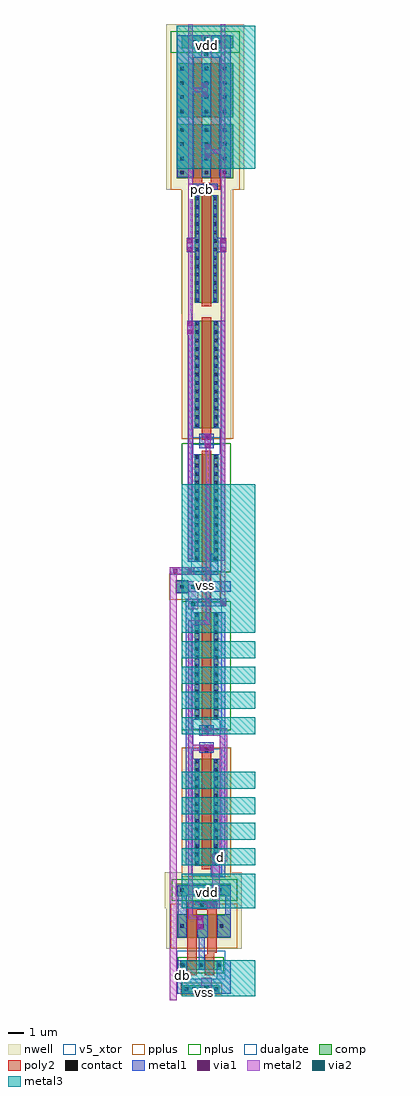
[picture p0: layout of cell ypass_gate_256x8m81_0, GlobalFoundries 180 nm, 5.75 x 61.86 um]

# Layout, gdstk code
from math import pi, radians
import gdstk
lib = gdstk.Library(unit=1e-6, precision=1e-09)
def R(c, l, rs):  # rectangles x0, y0, x1, y1
    for r in rs: c.add(gdstk.rectangle(r[:2], r[2:], *l))
def A(c, l, x, y, w, h, nx, ny, dx, dy):  # array of equal rectangles
    R(c, l, [(x+i*dx, y+j*dy, x+i*dx+w, y+j*dy+h) for i in range(nx) for j in range(ny)])
def P(c, l, *ps):  # polygons
    for p in ps: c.add(gdstk.Polygon(p, *l))
nwell = (21, 0)
comp = (22, 0)
poly2 = (30, 0)
pplus = (31, 0)
nplus = (32, 0)
contact = (33, 0)
metal1 = (34, 0)
via1 = (35, 0)
metal2 = (36, 0)
via2 = (38, 0)
metal3 = (42, 0)
dualgate = (55, 0)
v5_xtor = (112, 1)

m2_m14310590878116_256x8 = lib.new_cell('M2_M14310590878116_256x8m81')
R(m2_m14310590878116_256x8, metal1, [(-0.19,-0.19,0.19,0.19)])
R(m2_m14310590878116_256x8, via1, [(-0.13,-0.13,0.13,0.13)])
R(m2_m14310590878116_256x8, metal2, [(-0.19,-0.19,0.19,0.19)])

m2_m14310590878119_256x8 = lib.new_cell('M2_M14310590878119_256x8m81')
R(m2_m14310590878119_256x8, metal1, [(-0.19,-0.45,0.19,0.45)])
R(m2_m14310590878119_256x8, via1, [(-0.13,-0.39,0.13,-0.13), (-0.13,0.13,0.13,0.39)])
R(m2_m14310590878119_256x8, metal2, [(-0.19,-0.45,0.19,0.45)])

m1_poly24310590878127_25 = lib.new_cell('M1_POLY24310590878127_256x8m81')
R(m1_poly24310590878127_25, poly2, [(-0.21,-0.21,0.21,0.21)])
R(m1_poly24310590878127_25, contact, [(-0.11,-0.11,0.11,0.11)])
R(m1_poly24310590878127_25, metal1, [(-0.17,-0.17,0.17,0.17)])

pmos_5p0431059087810_256 = lib.new_cell('pmos_5p0431059087810_256x8m81')
R(pmos_5p0431059087810_256, nwell, [(-1.04,-0.6,1.64,7.41)])
R(pmos_5p0431059087810_256, comp, [(-0.44,0,1.04,6.81), (-0.44,0,-0.08,6.81), (0.68,0,1.04,6.81)])
R(pmos_5p0431059087810_256, poly2, [(0,-0.22,0.6,7.03), (0,6.81,0.6,7.03)])
R(pmos_5p0431059087810_256, pplus, [(-0.6,-0.23,1.2,7.04)])
A(pmos_5p0431059087810_256, contact, -0.37, 0.07, 0.22, 0.22, 1, 7, 0, 0.54)
A(pmos_5p0431059087810_256, contact, 0.75, 0.07, 0.22, 0.22, 1, 7, 0, 0.54)
A(pmos_5p0431059087810_256, contact, -0.37, 3.845, 0.22, 0.22, 1, 6, 0, 0.535)
A(pmos_5p0431059087810_256, contact, 0.75, 3.845, 0.22, 0.22, 1, 6, 0, 0.535)
R(pmos_5p0431059087810_256, metal1, [(-0.375,0,-0.145,6.81), (-0.375,0,-0.145,6.81), (0.745,0,0.975,6.81), (0.745,0,0.975,6.81)])
R(pmos_5p0431059087810_256, dualgate, [(-0.68,-0.62,1.28,7.43)])
R(pmos_5p0431059087810_256, v5_xtor, [(-0.68,-0.62,1.28,7.43)])
pmos_5p0431059087810_256.add(gdstk.Label('S', (-0.26,3.405), layer=34, texttype=0))
pmos_5p0431059087810_256.add(gdstk.Label('D', (0.86,3.405), layer=34, texttype=0))

nmos_5p0431059087811_256 = lib.new_cell('nmos_5p0431059087811_256x8m81')
A(nmos_5p0431059087811_256, comp, -0.44, 0, 0.36, 0.57, 3, 1, 1.12, 0)
R(nmos_5p0431059087811_256, comp, [(-0.44,0,2.16,0.57)])
R(nmos_5p0431059087811_256, poly2, [(0,-0.22,0.6,0.79), (1.12,-0.22,1.72,0.79), (0,0.57,0.6,0.79), (1.12,0.57,1.72,0.79)])
R(nmos_5p0431059087811_256, nplus, [(-0.6,-0.23,2.32,0.8)])
A(nmos_5p0431059087811_256, contact, -0.37, 0.175, 0.22, 0.22, 3, 1, 1.12, 0)
R(nmos_5p0431059087811_256, metal1, [(-0.375,0,-0.145,0.57), (-0.375,0,-0.145,0.57), (0.745,0,0.975,0.57), (0.745,0,0.975,0.57), (1.865,0,2.095,0.57), (1.865,0,2.095,0.57)])
R(nmos_5p0431059087811_256, dualgate, [(-0.68,-0.62,2.4,1.19)])
R(nmos_5p0431059087811_256, v5_xtor, [(-0.68,-0.62,2.4,1.19)])
nmos_5p0431059087811_256.add(gdstk.Label('S', (-0.26,0.285), layer=34, texttype=0))
nmos_5p0431059087811_256.add(gdstk.Label('S', (1.98,0.285), layer=34, texttype=0))
nmos_5p0431059087811_256.add(gdstk.Label('D', (0.86,0.285), layer=34, texttype=0))

nmos_5p0431059087812_256 = lib.new_cell('nmos_5p0431059087812_256x8m81')
R(nmos_5p0431059087812_256, comp, [(-0.44,0,1.04,6.81), (-0.44,0,-0.08,6.81), (0.68,0,1.04,6.81)])
R(nmos_5p0431059087812_256, poly2, [(0,-0.22,0.6,7.03), (0,6.81,0.6,7.03)])
R(nmos_5p0431059087812_256, nplus, [(-0.6,-0.23,1.2,7.04)])
A(nmos_5p0431059087812_256, contact, -0.37, 0.07, 0.22, 0.22, 1, 7, 0, 0.54)
A(nmos_5p0431059087812_256, contact, 0.75, 0.07, 0.22, 0.22, 1, 7, 0, 0.54)
A(nmos_5p0431059087812_256, contact, -0.37, 3.845, 0.22, 0.22, 1, 6, 0, 0.535)
A(nmos_5p0431059087812_256, contact, 0.75, 3.845, 0.22, 0.22, 1, 6, 0, 0.535)
R(nmos_5p0431059087812_256, metal1, [(-0.375,0,-0.145,6.81), (-0.375,0,-0.145,6.81), (0.745,0,0.975,6.81), (0.745,0,0.975,6.81)])
R(nmos_5p0431059087812_256, dualgate, [(-0.68,-0.62,1.28,7.43)])
R(nmos_5p0431059087812_256, v5_xtor, [(-0.68,-0.62,1.28,7.43)])
nmos_5p0431059087812_256.add(gdstk.Label('S', (-0.26,3.405), layer=34, texttype=0))
nmos_5p0431059087812_256.add(gdstk.Label('D', (0.86,3.405), layer=34, texttype=0))

m1_poly24310590878129_25 = lib.new_cell('M1_POLY24310590878129_256x8m81')
R(m1_poly24310590878129_25, poly2, [(-0.445,-0.21,0.445,0.21)])
R(m1_poly24310590878129_25, contact, [(-0.345,-0.11,-0.125,0.11), (0.125,-0.11,0.345,0.11)])
R(m1_poly24310590878129_25, metal1, [(-0.405,-0.17,0.405,0.17)])

via1_x2_r90_256x8m81_0 = lib.new_cell('via1_x2_R90_256x8m81_0')
R(via1_x2_r90_256x8m81_0, metal1, [(0,0,0.46,1.54)])
R(via1_x2_r90_256x8m81_0, via1, [(0.1,0.2,0.36,0.46), (0.1,1.13,0.36,1.39)])
R(via1_x2_r90_256x8m81_0, metal2, [(0,0,0.46,1.54)])

m1_nwell__46277676_256x8 = lib.new_cell('M1_NWELL$$46277676_256x8m81_0')
R(m1_nwell__46277676_256x8, nwell, [(-1.895,-1.14,1.895,1.14)])
R(m1_nwell__46277676_256x8, comp, [(-1.18,-0.4,1.18,0.4)])
R(m1_nwell__46277676_256x8, nplus, [(-1.445,-0.675,1.445,0.675)])
A(m1_nwell__46277676_256x8, contact, -0.9, -0.11, 0.22, 0.22, 3, 1, 0.79, 0)
R(m1_nwell__46277676_256x8, metal1, [(-1.08,-0.3,1.08,0.3)])

m1_pactive4310590878140_ = lib.new_cell('M1_PACTIVE4310590878140_256x8m81')
R(m1_pactive4310590878140_, comp, [(-1.15,-0.21,1.15,0.21)])
R(m1_pactive4310590878140_, pplus, [(-1.31,-0.37,1.31,0.37)])
A(m1_pactive4310590878140_, contact, -1.05, -0.11, 0.22, 0.22, 5, 1, 0.47, 0)
R(m1_pactive4310590878140_, metal1, [(-1.11,-0.17,1.11,0.17)])

m3_m2__43368492_256x8m81 = lib.new_cell('M3_M2$$43368492_256x8m81')
R(m3_m2__43368492_256x8m81, metal2, [(-0.32,-0.875,0.32,0.88)])
R(m3_m2__43368492_256x8m81, via2, [(-0.13,-0.675,0.13,-0.415), (-0.13,0.415,0.13,0.675)])
R(m3_m2__43368492_256x8m81, metal3, [(-0.325,-0.88,0.325,0.88)])

via1_r90_256x8m81_0 = lib.new_cell('via1_R90_256x8m81_0')
R(via1_r90_256x8m81_0, metal1, [(0,0,0.465,0.64)])
R(via1_r90_256x8m81_0, via1, [(0.1,0.2,0.36,0.46)])
R(via1_r90_256x8m81_0, metal2, [(0,0,0.465,0.635)])

via2_r90_256x8m81_0 = lib.new_cell('via2_R90_256x8m81_0')
P(via2_r90_256x8m81_0, metal2, [(0,-0.005),(0,0.27),(-0.005,0.27),(-0.005,0.33),(0,0.33),(0,0.635),(0.465,0.635),(0.465,-0.005)])
R(via2_r90_256x8m81_0, via2, [(0.1,0.2,0.36,0.46)])
R(via2_r90_256x8m81_0, metal3, [(0,-0.005,0.465,0.64)])

m1_nwell__47121452_256x8 = lib.new_cell('M1_NWELL$$47121452_256x8m81_0')
R(m1_nwell__47121452_256x8, nwell, [(-2.29,-1.14,2.29,1.14)])
R(m1_nwell__47121452_256x8, comp, [(-1.575,-0.4,1.575,0.4)])
R(m1_nwell__47121452_256x8, nplus, [(-1.84,-0.675,1.84,0.675)])
A(m1_nwell__47121452_256x8, contact, -1.295, -0.11, 0.22, 0.22, 4, 1, 0.79, 0)
R(m1_nwell__47121452_256x8, metal1, [(-1.475,-0.3,1.475,0.3)])

m2_m1__46894124_256x8m81 = lib.new_cell('M2_M1$$46894124_256x8m81_0')
R(m2_m1__46894124_256x8m81, metal1, [(-0.32,-0.335,0.325,0.335)])
R(m2_m1__46894124_256x8m81, via1, [(-0.13,-0.13,0.13,0.13)])
R(m2_m1__46894124_256x8m81, metal2, [(-0.32,-0.335,0.325,0.335)])

via1_r270_256x8m81_0 = lib.new_cell('via1_R270_256x8m81_0')
R(via1_r270_256x8m81_0, metal1, [(-0.005,0,0.48,0.64)])
R(via1_r270_256x8m81_0, via1, [(0.11,0.19,0.37,0.45)])
R(via1_r270_256x8m81_0, metal2, [(-0.005,-0.005,0.48,0.635)])

m1_psub__45111340_256x8m = lib.new_cell('M1_PSUB$$45111340_256x8m81_0')
R(m1_psub__45111340_256x8m, comp, [(-0.4,-0.415,0.4,0.415)])
R(m1_psub__45111340_256x8m, pplus, [(-0.795,-0.82,0.795,0.82)])
R(m1_psub__45111340_256x8m, contact, [(-0.11,-0.11,0.11,0.11)])
R(m1_psub__45111340_256x8m, metal1, [(-0.355,-0.37,0.355,0.37)])

via1_2_256x8m81_0 = lib.new_cell('via1_2_256x8m81_0')
via1_2_256x8m81_0.add(gdstk.Reference(via1_r90_256x8m81_0, (0,0)))
via1_2_256x8m81_0.add(gdstk.Reference(via2_r90_256x8m81_0, (0,0)))

ypass_gate_256x8m81_0 = lib.new_cell('ypass_gate_256x8m81_0')
R(ypass_gate_256x8m81_0, nwell, [(-0.025,7.79,3.12,16.01), (-0.025,35.54,3.12,43.76), (-0.035,43.475,3.11,51.695), (-1.015,51.33,3.935,61.85)])
P(ypass_gate_256x8m81_0, nwell, [(-1.015,3.24),(-1.015,6.125),(-0.025,6.125),(-0.025,8.1),(3.78,8.1),(3.78,3.24)])
R(ypass_gate_256x8m81_0, comp, [(-0.335,3.94,3.1,5.425), (2.75,6.56,3.1,7.36), (-0.335,52.08,3.25,55.49), (-0.335,55.955,3.25,59.365), (-0.005,60.31,3.25,61.11)])
R(ypass_gate_256x8m81_0, poly2, [(0.33,1.55,0.93,1.91), (1.45,1.55,2.05,1.91), (0.33,2.485,0.92,2.49), (1.25,15.305,1.85,16.055), (1.25,17.02,1.85,17.77), (1.25,24.435,1.85,27.79), (1.25,35.51,1.85,36.245), (1.24,50.99,1.84,51.355)])
P(ypass_gate_256x8m81_0, poly2, [(0.33,2.695),(0.33,3.06),(0.335,3.06),(0.335,6.22),(2.195,6.22),(2.195,3.005),(2.05,3.005),(2.05,2.695),(1.45,2.695),(1.45,2.85),(1.595,2.85),(1.595,5.725),(0.935,5.725),(0.935,3.095),(0.93,3.095),(0.93,2.695)],
  [(0.69,51.345),(0.69,59.73),(1.29,59.73),(1.29,51.78),(1.81,51.78),(1.81,59.73),(2.41,59.73),(2.41,51.345)])
R(ypass_gate_256x8m81_0, pplus, [(-0.73,3.26,3.495,6.105), (-0.005,7.815,3.1,15.985), (0.26,7.815,2.835,15.985), (0.48,25.365,2.415,27.005), (0.26,35.565,2.835,43.735), (0.25,43.5,2.825,51.67)])
P(ypass_gate_256x8m81_0, pplus, [(-0.005,35.565),(-0.005,51.355),(-0.73,51.355),(-0.73,60.045),(3.645,60.045),(3.645,51.355),(3.25,51.355),(3.25,35.565)])
R(ypass_gate_256x8m81_0, nplus, [(3.005,6.285,3.495,7.635), (-0.005,17.09,3.1,25.26), (0.26,17.09,2.835,25.26), (-0.005,27.11,3.1,35.28), (0.26,27.11,2.835,35.28), (-0.73,60.035,3.645,61.385)])
A(ypass_gate_256x8m81_0, contact, -0.11, 53.225, 0.22, 0.22, 1, 3, 0, 0.905)
A(ypass_gate_256x8m81_0, contact, 1.44, 53.225, 0.22, 0.22, 1, 3, 0, 0.905)
A(ypass_gate_256x8m81_0, contact, 2.57, 53.225, 0.22, 0.22, 1, 3, 0, 0.905)
R(ypass_gate_256x8m81_0, contact, [(-0.11,4.575,0.11,4.795), (1.155,4.575,1.375,4.795), (2.405,4.575,2.625,4.795), (-0.11,52.315,0.11,52.535), (1.44,52.315,1.66,52.535), (2.57,52.315,2.79,52.535), (-0.11,56.19,0.11,56.41), (1.44,56.19,1.66,56.41), (2.57,56.19,2.79,56.41), (-0.11,57.1,0.11,57.32), (1.44,57.1,1.66,57.32), (2.57,57.1,2.79,57.32), (-0.11,58.005,0.11,58.225), (1.44,58.005,1.66,58.225), (2.57,58.005,2.79,58.225), (-0.11,58.915,0.11,59.135), (1.44,58.915,1.66,59.135), (2.57,58.915,2.79,59.135)])
R(ypass_gate_256x8m81_0, metal1, [(0.68,5.775,2.02,6.26), (1.095,15.66,2,16.34), (1.095,16.74,2,17.415), (-0.355,25.86,3.1,26.53), (1.095,34.975,2,35.89), (0.29,47.39,1.095,48.29), (1.985,47.39,2.79,48.29), (0.39,51.355,2.265,51.725), (1.26,52.125,1.835,55.445), (1.26,56,1.835,59.32)])
P(ypass_gate_256x8m81_0, metal1, [(2.215,27.835),(2.215,34.595),(2.395,34.595),(2.395,36.24),(2.165,36.24),(2.165,43.05),(2.745,43.05),(2.745,27.835)],
  [(0.35,27.785),(0.35,43.05),(0.885,43.05),(0.885,36.24),(0.705,36.24),(0.705,34.595),(0.92,34.595),(0.92,27.785)],
  [(0.225,26.95),(0.225,27.435),(1.82,27.435),(1.82,28.285),(2.29,28.285),(2.29,27.835),(2.285,27.835),(2.285,26.95)],
  [(0.24,8.54),(0.24,25.42),(2.805,25.42),(2.805,24.935),(0.705,24.935),(0.705,24.575),(0.94,24.575),(0.94,17.84),(0.96,17.84),(0.96,17.765),(0.705,17.765),(0.705,15.3),(0.905,15.3),(0.905,8.54)],
  [(1.82,7.77),(1.82,8.55),(2.175,8.55),(2.175,15.3),(2.395,15.3),(2.395,17.765),(2.215,17.765),(2.215,24.575),(2.745,24.575),(2.745,7.77)],
  [(2.23,3.985),(2.23,5.38),(2.745,5.38),(2.745,6.66),(2.65,6.66),(2.65,7.26),(3.1,7.26),(3.1,3.985)],
  [(-0.285,3.985),(-0.285,6.66),(-0.29,6.66),(-0.29,7.26),(0.29,7.26),(0.29,6.66),(0.285,6.66),(0.285,3.985)],
  [(1.075,1.9),(1.075,3.985),(0.975,3.985),(0.975,5.38),(1.615,5.38),(1.615,3.985),(1.44,3.985),(1.44,1.9)],
  [(-0.29,0.38),(-0.29,2.5),(0.285,2.5),(0.285,1.355),(2.195,1.355),(2.195,2.5),(3.1,2.5),(3.1,0.38)],
  [(-0.29,52.125),(-0.29,61.135),(3.1,61.135),(3.1,52.125),(2.36,52.125),(2.36,59.72),(0.735,59.72),(0.735,52.125)])
R(ypass_gate_256x8m81_0, metal2, [(-0.77,-0.005,-0.33,27.315), (1.23,0.245,1.87,1.39), (0.55,15.805,1.54,16.185), (1.23,59.72,1.87,61.135)])
P(ypass_gate_256x8m81_0, metal2, [(1.91,5.775),(1.91,9.265),(2.405,9.265),(2.405,16.735),(1.25,16.735),(1.25,17.22),(2.865,17.22),(2.865,8.78),(2.375,8.78),(2.375,5.775)])
A(ypass_gate_256x8m81_0, metal3, -0.005, 8.54, 4.65, 1.075, 1, 4, 0, 1.61)
R(ypass_gate_256x8m81_0, metal3, [(-0.005,0.245,4.645,2.52), (-0.005,5.8,4.645,8.01), (-0.005,16.83,4.645,17.905), (-0.005,18.44,4.645,19.515), (-0.005,20.045,4.645,21.12), (-0.005,21.655,4.645,22.73), (-0.005,23.285,4.65,32.685), (-0.325,52.69,4.645,61.735)])
ypass_gate_256x8m81_0.add(gdstk.FlexPath([(1.13,5.24),(0.545,5.24),(0.545,23.92),(1.635,23.92),(1.635,35.82)], 0.28, ends="flush", simple_path=True, layer=36, datatype=0))  # metal2
ypass_gate_256x8m81_0.add(gdstk.FlexPath([(2.6,53.78),(1.485,53.78)], 0.28, ends="flush", simple_path=True, layer=36, datatype=0))  # metal2
ypass_gate_256x8m81_0.add(gdstk.FlexPath([(2.6,61.85),(2.6,24.985)], 0.28, ends="flush", simple_path=True, layer=36, datatype=0))  # metal2
ypass_gate_256x8m81_0.add(gdstk.FlexPath([(1.64,57.675),(0.525,57.675)], 0.28, ends="flush", simple_path=True, layer=36, datatype=0))  # metal2
ypass_gate_256x8m81_0.add(gdstk.FlexPath([(0.525,61.85),(0.525,27.925)], 0.28, ends="flush", simple_path=True, layer=36, datatype=0))  # metal2
ypass_gate_256x8m81_0.add(gdstk.Reference(m2_m14310590878116_256x8, (2.6,25.175)))
ypass_gate_256x8m81_0.add(gdstk.Reference(m2_m14310590878119_256x8, (2.6,47.84)))
ypass_gate_256x8m81_0.add(gdstk.Reference(m2_m14310590878119_256x8, (1.635,35.425)))
ypass_gate_256x8m81_0.add(gdstk.Reference(m2_m14310590878119_256x8, (1.165,4.93)))
ypass_gate_256x8m81_0.add(gdstk.Reference(m2_m14310590878119_256x8, (0.525,42.6)))
ypass_gate_256x8m81_0.add(gdstk.Reference(m2_m14310590878119_256x8, (1.45,57.675)))
ypass_gate_256x8m81_0.add(gdstk.Reference(m2_m14310590878119_256x8, (1.645,53.78)))
ypass_gate_256x8m81_0.add(gdstk.Reference(m2_m14310590878119_256x8, (0.48,47.84)))
ypass_gate_256x8m81_0.add(gdstk.Reference(m2_m14310590878119_256x8, (1.55,15.995), rotation=3*pi/2))
ypass_gate_256x8m81_0.add(gdstk.Reference(m1_poly24310590878127_25, (1.55,35.72)))
ypass_gate_256x8m81_0.add(gdstk.Reference(m1_poly24310590878127_25, (1.265,6.01)))
ypass_gate_256x8m81_0.add(gdstk.Reference(m1_poly24310590878127_25, (1.55,15.845)))
ypass_gate_256x8m81_0.add(gdstk.Reference(m1_poly24310590878127_25, (1.55,17.23)))
ypass_gate_256x8m81_0.add(gdstk.Reference(pmos_5p0431059087810_256, (1.25,43.05), x_reflection=True))
ypass_gate_256x8m81_0.add(gdstk.Reference(pmos_5p0431059087810_256, (1.24,50.985), x_reflection=True))
ypass_gate_256x8m81_0.add(gdstk.Reference(pmos_5p0431059087810_256, (1.25,15.3), x_reflection=True))
ypass_gate_256x8m81_0.add(gdstk.Reference(nmos_5p0431059087811_256, (0.33,1.915)))
ypass_gate_256x8m81_0.add(gdstk.Reference(nmos_5p0431059087812_256, (1.25,24.575), x_reflection=True))
ypass_gate_256x8m81_0.add(gdstk.Reference(nmos_5p0431059087812_256, (1.25,34.595), x_reflection=True))
ypass_gate_256x8m81_0.add(gdstk.Reference(m1_poly24310590878129_25, (1.52,51.555)))
ypass_gate_256x8m81_0.add(gdstk.Reference(via1_x2_r90_256x8m81_0, (-0.77,26.955), rotation=pi/2, x_reflection=True))
ypass_gate_256x8m81_0.add(gdstk.Reference(m1_nwell__46277676_256x8, (1.55,60.71)))
ypass_gate_256x8m81_0.add(gdstk.Reference(m1_pactive4310590878140_, (1.22,0.705)))
ypass_gate_256x8m81_0.add(gdstk.Reference(m3_m2__43368492_256x8m81, (0.7,25.65)))
ypass_gate_256x8m81_0.add(gdstk.Reference(via1_r90_256x8m81_0, (1.865,59.725), rotation=pi/2))
ypass_gate_256x8m81_0.add(gdstk.Reference(via1_r90_256x8m81_0, (1.865,60.655), rotation=pi/2))
ypass_gate_256x8m81_0.add(gdstk.Reference(via1_r90_256x8m81_0, (1.89,16.74), rotation=pi/2))
ypass_gate_256x8m81_0.add(gdstk.Reference(via2_r90_256x8m81_0, (1.865,60.655), rotation=pi/2))
ypass_gate_256x8m81_0.add(gdstk.Reference(via2_r90_256x8m81_0, (1.865,59.725), rotation=pi/2))
ypass_gate_256x8m81_0.add(gdstk.Reference(m1_nwell__47121452_256x8, (1.185,6.96)))
ypass_gate_256x8m81_0.add(gdstk.Reference(m2_m1__46894124_256x8m81, (0.7,26.195)))
ypass_gate_256x8m81_0.add(gdstk.Reference(via1_r270_256x8m81_0, (1.585,6.255), rotation=3*pi/2))
ypass_gate_256x8m81_0.add(gdstk.Reference(m1_psub__45111340_256x8m, (0,26.185)))
ypass_gate_256x8m81_0.add(gdstk.Reference(via1_2_256x8m81_0, (1.32,0.44)))
ypass_gate_256x8m81_0.add(gdstk.Label('d', (2.46,9.025), layer=34, texttype=10))
ypass_gate_256x8m81_0.add(gdstk.Label('pcb', (1.295,51.36), layer=34, texttype=10))
ypass_gate_256x8m81_0.add(gdstk.Label('vdd', (1.59,6.78), layer=34, texttype=10))
ypass_gate_256x8m81_0.add(gdstk.Label('vss', (1.395,0.455), layer=42, texttype=10))
ypass_gate_256x8m81_0.add(gdstk.Label('vdd', (1.59,60.47), layer=42, texttype=10))
ypass_gate_256x8m81_0.add(gdstk.Label('vss', (1.515,26.275), layer=42, texttype=10))
ypass_gate_256x8m81_0.add(gdstk.Label('b', (2.59,59.655), layer=36, texttype=10))
ypass_gate_256x8m81_0.add(gdstk.Label('bb', (0.525,59.655), layer=36, texttype=10))
ypass_gate_256x8m81_0.add(gdstk.Label('db', (0,1.52), layer=36, texttype=10))
ypass_gate_256x8m81_0.add(gdstk.Label('ypass', (1.425,6.11), layer=36, texttype=10))

lib.write_gds('ypass_gate_256x8m81_0.gds')
